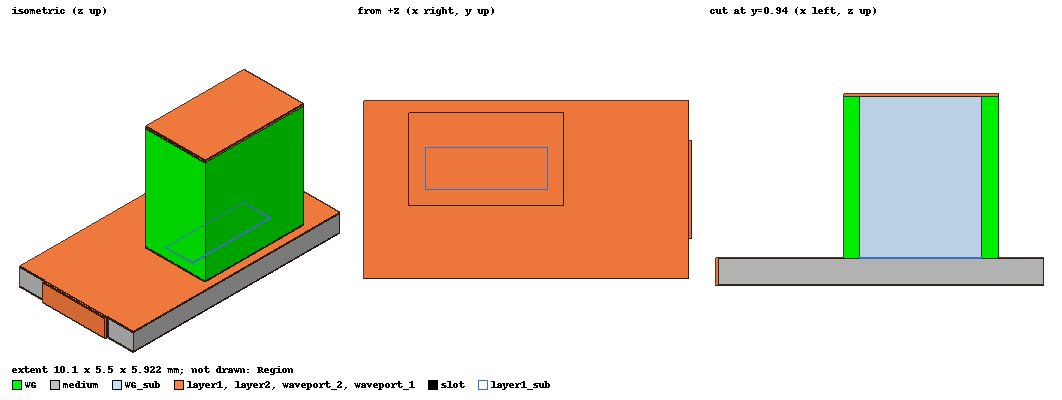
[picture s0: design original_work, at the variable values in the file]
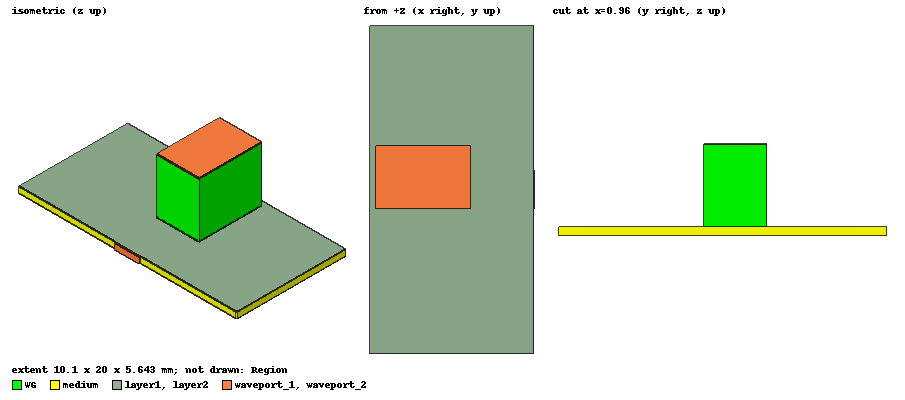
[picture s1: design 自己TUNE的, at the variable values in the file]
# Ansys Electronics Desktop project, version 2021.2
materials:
  vacuum: permittivity=1
  Rogers RT/duroid 5880 (tm): permittivity=2.2 dielectric_loss_tangent=0.0009
  copper: permeability=0.999991 conductivity=58000000
  air: permittivity=1.0006 permeability=1.0000004
  pec: conductivity=1e+30
  Rogers RO4003 (tm): permittivity=3.55 dielectric_loss_tangent=0.0027

design original_work (HFSS, DrivenModal, model units mm)
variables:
  m_thickness = 0.787mm
  m_width = 5.5mm
  m_length = 10mm
  line_thickness = 0.035mm
  WG_high = 5mm
  WG_length = 3.76mm
  WG_width = 1.88mm
  Fl = 8.3mm
  WG_thickness = 0.5mm
  via_match_radius = (0.125*2) mm  # 0.125
  Rx = 3.35mm
  Ax = 1.9mm
  Sl = 1.01mm
  Sw = 0.22mm
  via_radius = 0.15mm
  Fw = 3.03mm
  match_via_x = 0mm
  match_via_y = 0mm
  Aw = 1.3mm
  Sx = 5.72mm
  slot_y_dis = 0mm
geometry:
  medium [Rogers RT/duroid 5880 (tm)] = box(corner=(-m_length/2, - m_width/2, -m_thickness/2), size=(m_length, m_width, m_thickness))
  layer1 [copper] = box(corner=(-m_length/2, - m_width/2, m_thickness/2), size=(m_length, m_width, line_thickness))
  layer2 [copper] = box(corner=(-m_length/2, - m_width/2, -m_thickness/2-line_thickness), size=(m_length, m_width, line_thickness))
  WG [copper] = box(corner=(-m_length/2+Ax - WG_thickness, - WG_thickness, m_thickness/2), size=(WG_length + WG_thickness*2, WG_width+ WG_thickness*2, WG_high))
  via_match [copper] = cylinder(axis=Z, base_centre=(-m_length/2 + Rx, -0.5mm, -m_thickness/2), radius=via_match_radius, height=m_thickness)
  slot [copper] = box(corner=(m_length/2  - Sl - Sx, WG_width/2-Sw/2, m_thickness/2), size=(Sl, Sw, line_thickness))
  via [copper] = cylinder(axis=Z, base_centre=(-m_length/2+Ax - via_radius * 2, - Fw/2, -m_thickness/2), radius=via_radius, height=m_thickness)
  waveport1 = rectangle(corner=(m_length/2, -Fw/2, -m_thickness/2-line_thickness), y_size=Fw, z_size=m_thickness+line_thickness*2)
  waveport_1 [pec] = box(corner=(m_length/2, -Fw/2, -m_thickness/2-line_thickness), size=(0.1mm, Fw, m_thickness+line_thickness*2))
  waveport2 = rectangle(corner=(-m_length/2+Ax - WG_thickness, - WG_thickness, m_thickness/2+WG_high), x_size=WG_length + WG_thickness*2, y_size=WG_width + WG_thickness*2)
  waveport_2 [pec] = box(corner=(-m_length/2+Ax - WG_thickness, - WG_thickness, m_thickness/2+WG_high), size=(WG_length + WG_thickness*2, WG_width + WG_thickness*2, 0.1mm))
  Region [air] = region(percentage_offset=30 on all sides)
  via_match.move(match_via_x, match_via_y, 0mm)
  via_1..via_4 [copper] = via.duplicate_along_line(step=(0mm, 0.7575mm, 0mm), total=5)
  via_15 [copper] = via.duplicate_along_line(step=(0.72mm, 0mm, 0mm), total=12)  # copies kept: 11
  via_16 = via.copy()
  via_match_1 = via_match.copy()
  medium.subtract(via_16, via_match_1)
  WG_sub [air] = box(corner=(-m_length/2+Ax, 0mm, m_thickness/2 + line_thickness), size=(WG_length, WG_width, WG_high-line_thickness))
  layer1_sub [air] = box(corner=(-m_length/2+Ax, 0mm, m_thickness/2), size=(WG_length, Aw, line_thickness))
  layer1_sub_1 = layer1_sub.copy()
  WG_1 = WG.copy()
  layer1.subtract(layer1_sub_1, WG_1)
  layer1_sub_2 = layer1_sub.copy()
  WG_sub_1 = WG_sub.copy()
  WG.subtract(layer1_sub_2, WG_sub_1)
  slot.move(0mm, slot_y_dis, 0mm)
  via_15_1..via_15_15 = via_15.duplicate_along_line(step=(-0.5mm, 0mm, 0mm), total=16)
  via_15.unite(via_15_1..via_15_15)
  via_15_16 [copper] = via_15.duplicate_along_line(step=(0mm, 3.03mm, 0mm), total=2)
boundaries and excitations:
  Rad1: Radiation Objects=Region
  1: Wave Port Objects=waveport1 NumModes=1 Modes{Mode1{CharImp=Zpi}}
  2: Wave Port Objects=waveport2 NumModes=1 Modes{Mode1{CharImp=Zpi}}
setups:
  Setup1: HfssDriven Frequency=60GHz MaxDeltaS=0.02 MaximumPasses=6 MinimumPasses=1 MinimumConvergedPasses=1 PercentRefinement=30 BasisOrder=1 PortAccuracy=2
    sweep Sweep: 50GHz to 70GHz step 0.1GHz; Type=Interpolating InterpTolerance=0.5 InterpMaxSolns=250 InterpUsePortImped=false PassivityErrorTolerance=0.0001
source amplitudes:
  1:1: 1W 0deg
  2:1: 0W 0deg
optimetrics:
  ParametricSetup1: Parametric Sim._Setups=[Setup1]
    sweep match_via_x: LIN -0.1mm 0.1mm 0.05mm
    sweep match_via_y: LIN -0.1mm 0.1mm 0.05mm
  ParametricSetup2: Parametric Sim._Setups=[Setup1]
    sweep match_via_y: LIN -0.5mm 0.3mm 0.1mm
    sweep slot_y_dis: LIN -0.2mm 0.2mm 0.1mm
  ParametricSetup3: Parametric Sim._Setups=[Setup1]
    sweep slot_y_dis: 0.25mm
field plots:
  Mag_E1: E Field in Region on Setup1 : LastAdaptive at Freq=60GHz Phase=0deg
  Mag_E2: E Field in medium on Setup1 : LastAdaptive at Freq=60GHz Phase=0deg
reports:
  S Parameter Plot 1: dB(S(1,1)), dB(S(2,1)) vs Freq on Setup1 : Sweep; markers MY1 at y=-1
  S Parameter Plot 2: dB(S(2,1)) vs Freq on Setup1 : Sweep [match_via_y=-0.1mm slot_y_dis=all]
  S Parameter Plot 3: dB(S(1,1)), dB(S(2,1)) vs Freq on Setup1 : Sweep [match_via_y=-0.1mm slot_y_dis=0.2mm]
  S Parameter Plot 4: dB(S(1,1)), dB(S(2,1)) vs Freq on Setup1 : Sweep [slot_y_dis=0.25mm]

design 自己TUNE的 (HFSS, DrivenModal, model units mm)
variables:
  m_thickness = 0.508mm
  m_width = 20mm
  m_length = 10mm
  line_thickness = 0.035mm
  WG_high = 5mm
  WG_length = 3.76mm
  WG_width = 1.88mm
  WG_thickness = 1mm
  via_match_radius = 0.15mm  # 0.125
  Sl = 0.85mm  # lenght of slot
  Sw = 0.29mm  # width of slot
  via_radius = 0.15mm
  match_via_x = 0mm
  match_via_y = -0.1mm
  Aw = 1.3mm
  via_y_dis = -2.26mm  # SIW widness
  layer1_sub_y_dis = -0.5mm
  slot_y_dis = 0.1mm
  slot_x_dis = 0.3mm
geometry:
  medium [Rogers RO4003 (tm)] = box(corner=(-m_length/2, - m_width/2, -m_thickness/2), size=(m_length, m_width, m_thickness))
  layer1 [copper] = box(corner=(-m_length/2, - m_width/2, m_thickness/2), size=(m_length, m_width, line_thickness))
  layer2 [copper] = box(corner=(-m_length/2, - m_width/2, -m_thickness/2-line_thickness), size=(m_length, m_width, line_thickness))
  WG [copper] = box(corner=(-3.6 mm  - WG_thickness, - 0.185 mm - WG_thickness, m_thickness/2), size=(WG_length + WG_thickness*2, WG_width+ WG_thickness*2, WG_high))
  via_match [copper] = cylinder(axis=Z, base_centre=(-1.87mm, via_y_dis/2 + 0.675 mm, -m_thickness/2), radius=via_match_radius, height=m_thickness)
  slot [copper] = box(corner=(-2.125mm, via_y_dis/2+ Aw+ 0.795 mm - Sw, m_thickness/2), size=(Sl, Sw, line_thickness))
  waveport_2 [pec] = box(corner=(m_length/2, - via_y_dis/2, -m_thickness/2-line_thickness), size=(0.1mm, via_y_dis, m_thickness+line_thickness*2))
  waveport_1 [pec] = box(corner=(-3.6 mm  - WG_thickness, - 0.185 mm - WG_thickness, m_thickness/2+WG_high), size=(WG_length + WG_thickness*2, WG_width + WG_thickness*2, 0.1mm))
  Region [air] = region(percentage_offset=30 on all sides)
  WG_sub = box(corner=(-3.6mm, via_y_dis/2+0.945 mm, m_thickness/2 + line_thickness), size=(WG_length, WG_width, WG_high-line_thickness))
  layer1_sub = box(corner=(-3.25mm, via_y_dis/2 + 0.945 mm, m_thickness/2), size=(WG_length + layer1_sub_y_dis+0.15 mm, Aw -  0.15 mm, line_thickness))
  layer1_sub_1 = layer1_sub.copy()
  WG_sub_1 = WG_sub.copy()
  WG_sub.delete()
  WG.subtract(layer1_sub_1, WG_sub_1)
  layer1_sub_2 = layer1_sub.copy()
  layer1_sub.delete()
  layer1.subtract(layer1_sub_2)
  layer1_1 = layer1.copy()
  WG.subtract(layer1_1)
  via_27 [copper] = cylinder(axis=Z, base_centre=(m_length /2  - 0.29 mm, via_y_dis /2, - m_thickness/2), radius=via_radius, height=m_thickness)
  via_back [copper] = cylinder(axis=Z, base_centre=(m_length /2 - via_radius*2  - 8.1 mm, via_y_dis /2, - m_thickness/2), radius=via_radius, height=m_thickness)
  via_28_1..via_28_5 = via_back.duplicate_along_line(step=(0mm, 0.5mm, 0mm), total=6)
  via_back.unite(via_28_1..via_28_5)
  via_match.move(match_via_x, match_via_y, 0mm)
  via_27_1..via_27_15 = via_27.duplicate_along_line(step=(-0.5mm, 0mm, 0mm), total=16)
  via_27.unite(via_27_1..via_27_15)
  via_27_16 [copper] = via_27.duplicate_along_line(step=(0mm, 2.26mm, 0mm), total=2)
  slot.move(slot_x_dis, 0, 0mm)
  Rectangle1 = rectangle(corner=(-3.6 mm  - WG_thickness, - 0.185 mm - WG_thickness, m_thickness/2+WG_high), x_size=WG_length + WG_thickness*2, y_size=WG_width + WG_thickness*2)
  Rectangle2 = rectangle(corner=(m_length/2, - via_y_dis/2, -m_thickness/2-line_thickness), y_size=via_y_dis, z_size=m_thickness+line_thickness*2)
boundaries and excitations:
  Rad1: Radiation Objects=Region
  1: Wave Port Objects=Rectangle1 NumModes=1 Modes{Mode1{CharImp=Zpi}}
  2: Wave Port Objects=Rectangle2 NumModes=1 Modes{Mode1{CharImp=Zpi}}
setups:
  Setup1: HfssDriven Frequency=60GHz MaxDeltaS=0.02 MaximumPasses=6 MinimumPasses=1 MinimumConvergedPasses=1 PercentRefinement=30 BasisOrder=1 PortAccuracy=2
    sweep Sweep: 40GHz to 80GHz step 0.05GHz; Type=Interpolating InterpTolerance=0.5 InterpMaxSolns=250 InterpUsePortImped=false PassivityErrorTolerance=0.0001
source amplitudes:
  1:1: 1W 0deg
  2:1: 0W 0deg
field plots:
  Mag_E1: E Field in medium on Setup1 : LastAdaptive at Freq=60GHz Phase=0deg
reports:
  S Parameter Plot 2: dB(S(1,1)), dB(S(2,1)) vs Freq on Setup1 : Sweep [Freq=50GHz,50.05GHz,50.1GHz,50.15GHz,50.2GHz,50.25GHz,50.3GHz,50.35GHz,50.4GHz,50.45GHz,50.5GHz,50.55GHz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]; markers MX1 at x=6.5e+10, MX2 at x=6e+10, MX3 at x=5e+10, MY1 at y=-1, MY2 at y=-10
  S Parameter Plot 3: dB(S(2,1)), dB(S(1,2)) vs Freq on Setup1 : Sweep
